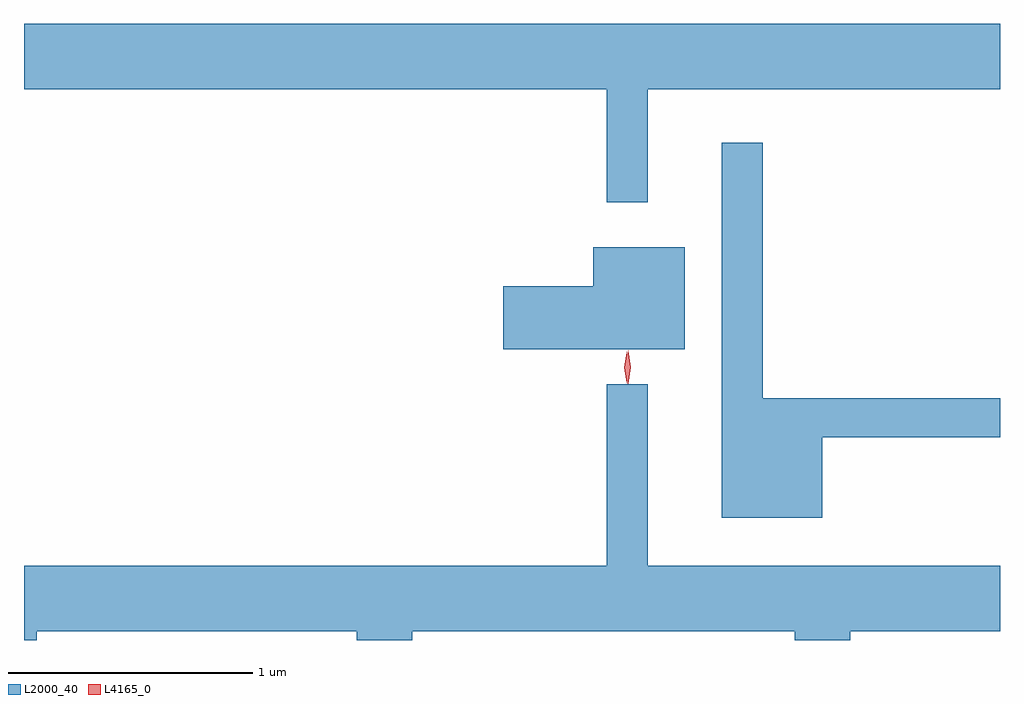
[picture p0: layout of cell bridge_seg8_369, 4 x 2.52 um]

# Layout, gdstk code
import gdstk
lib = gdstk.Library(unit=1e-6, precision=1e-09)
def P(c, l, *ps):  # polygons
    for p in ps: c.add(gdstk.Polygon(p, *l))
L2000_40 = (2000, 40)
L4165_0 = (4165, 0)

bridge_seg8_369 = lib.new_cell('bridge_seg8_369')
P(bridge_seg8_369, L2000_40, [(711.319,1938.536),(712.762,1938.536),(712.762,1938.804),(708.762,1938.804),(708.762,1938.536),(711.151,1938.536),(711.151,1938.073),(711.319,1938.073)],
  [(712.034,1937.111),(712.762,1937.111),(712.762,1937.269),(711.789,1937.269),(711.789,1938.318),(711.621,1938.318),(711.621,1936.781),(712.034,1936.781)],
  [(711.469,1937.889),(711.096,1937.889),(711.096,1937.729),(710.726,1937.729),(710.726,1937.471),(711.469,1937.471)],
  [(708.814,1936.316),(710.126,1936.316),(710.126,1936.279),(710.354,1936.279),(710.354,1936.316),(711.921,1936.316),(711.921,1936.279),(712.149,1936.279),(712.149,1936.316),(712.762,1936.316),(712.762,1936.584),(711.319,1936.584),(711.319,1937.328),(711.151,1937.328),(711.151,1936.584),(708.762,1936.584),(708.762,1936.279),(708.814,1936.279)])
P(bridge_seg8_369, L4165_0, [(711.232,1937.333),(711.232,1937.333),(711.222,1937.396),(711.232,1937.459),(711.232,1937.46),(711.233,1937.459),(711.242,1937.396),(711.233,1937.333)],
  [(711.237,1937.33),(711.228,1937.398),(711.238,1937.465),(711.239,1937.466),(711.239,1937.465),(711.248,1937.398),(711.238,1937.33),(711.238,1937.33)])

lib.write_gds('bridge_seg8_369.gds')
